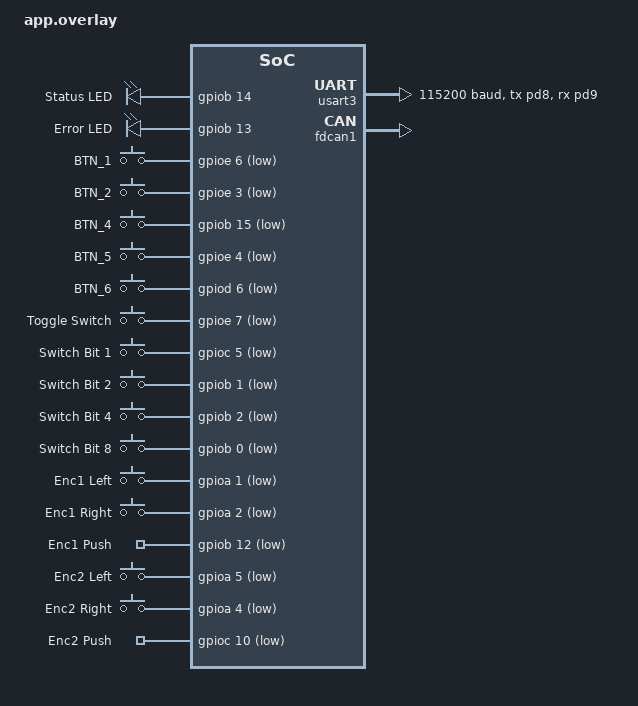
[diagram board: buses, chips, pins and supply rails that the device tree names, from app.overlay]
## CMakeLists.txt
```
# SPDX-License-Identifier: Apache-2.0
cmake_minimum_required(VERSION 3.20.0)

# generates compile_commands.json for clangd to LSP correctly. 
set(CMAKE_EXPORT_COMPILE_COMMANDS ON)

set_source_files_properties(src/*.cpp PROPERTIES LANGUAGE CXX)

set(BOARD_ROOT ${CMAKE_CURRENT_SOURCE_DIR})

find_package(Zephyr REQUIRED HINTS $ENV{ZEPHYR_BASE})

# Changed from vcu to wheel
project(wheel)

# Add include/ directory to include paths
target_include_directories(app PRIVATE
    ${CMAKE_CURRENT_SOURCE_DIR}/include
    ${CMAKE_CURRENT_SOURCE_DIR}/decoder_generated
)

# Gather all C and C++ source files under src/
# WARNING: Ensure adc.cpp, APPS.cpp, and dti_decoders.cpp are DELETED from the folder!
file(GLOB_RECURSE APP_SOURCES
    ${CMAKE_CURRENT_SOURCE_DIR}/src/*.c
    ${CMAKE_CURRENT_SOURCE_DIR}/src/*.cpp
    ${CMAKE_CURRENT_SOURCE_DIR}/decoder_generated/*.c
)

# Add sources to app target
target_sources(app PRIVATE
    src/main.cpp
    src/hardware.cpp
    src/can.cpp
    src/system.cpp
    src/steering_task.cpp
    src/gpio.cpp
)
```

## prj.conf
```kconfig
CONFIG_CAN=y
CONFIG_GPIO=y


CONFIG_LOG=y
CONFIG_LOG_MODE_IMMEDIATE=y
CONFIG_LOG_DEFAULT_LEVEL=3
CONFIG_LOG_BACKEND_FORMAT_TIMESTAMP=y
CONFIG_LOG_BACKEND_SHOW_COLOR=y
CONFIG_MAIN_STACK_SIZE=8192

CONFIG_CBPRINTF_FP_SUPPORT=y

CONFIG_CPP=y
CONFIG_CPP_EXCEPTIONS=y
CONFIG_GLIBCXX_LIBCPP=y
CONFIG_REQUIRES_FULL_LIBCPP=y
CONFIG_CAN_STATS=y

# custom compiler flag:
CONFIG_COMPILER_OPT="-ftrack-macro-expansion=0"
CONFIG_THREAD_MONITOR=y
CONFIG_THREAD_STACK_INFO=y
CONFIG_HEAP_MEM_POOL_SIZE=16384
CONFIG_SYSTEM_WORKQUEUE_STACK_SIZE=2048
CONFIG_SYS_HEAP_RUNTIME_STATS=y
CONFIG_PRINTK=y  

CONFIG_THREAD_RUNTIME_STATS=y
CONFIG_DEBUG_OPTIMIZATIONS=y

CONFIG_SCHED_THREAD_USAGE=y
CONFIG_CPU_LOAD=y
CONFIG_STATS=y

# threading
CONFIG_MULTITHREADING=y 
CONFIG_NUM_COOP_PRIORITIES=127
CONFIG_NUM_PREEMPT_PRIORITIES=127
CONFIG_SCHED_SCALABLE=y
```

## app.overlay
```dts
/*
 * Steering Wheel Controller Hardware Mapping
 * Target: STM32H753VIT6
 */

/ {
	aliases {
		led-status = &led_status;
		led-error = &led_error;
		
		/* Tactile Buttons */
		btn-1 = &btn_1;
		btn-2 = &btn_2;
		btn-4 = &btn_4;
		btn-5 = &btn_5;
		btn-6 = &btn_6;

		/* Toggle Switch */
		sw-toggle = &sw_toggle;

		/* 4-Bit Multiposition Switch */
		sw-bit1 = &sw_bit1;
		sw-bit2 = &sw_bit2;
		sw-bit4 = &sw_bit4;
		sw-bit8 = &sw_bit8;

		/* Rotary Encoder 1 */
		enc1-left = &enc1_left;
		enc1-right = &enc1_right;
		enc1-push = &enc1_push;

		/* Rotary Encoder 2 */
		enc2-left = &enc2_left;
		enc2-right = &enc2_right;
		enc2-push = &enc2_push;
	};

	leds {
		compatible = "gpio-leds";
		led_status: led_status {
			gpios = <&gpiob 14 GPIO_ACTIVE_HIGH>;
			label = "Status LED";
		};
		led_error: led_error {
			gpios = <&gpiob 13 GPIO_ACTIVE_HIGH>;
			label = "Error LED";
		};
	};

	gpio_keys {
		compatible = "gpio-keys";
		
		/* Tactile Buttons (Active Low) */
		btn_1: btn_1 { gpios = <&gpioe 6 (GPIO_PULL_UP | GPIO_ACTIVE_LOW)>; label = "BTN_1"; };
		btn_2: btn_2 { gpios = <&gpioe 3 (GPIO_PULL_UP | GPIO_ACTIVE_LOW)>; label = "BTN_2"; };
		btn_4: btn_4 { gpios = <&gpiob 15 (GPIO_PULL_UP | GPIO_ACTIVE_LOW)>; label = "BTN_4"; };
		btn_5: btn_5 { gpios = <&gpioe 4 (GPIO_PULL_UP | GPIO_ACTIVE_LOW)>; label = "BTN_5"; };
		btn_6: btn_6 { gpios = <&gpiod 6 (GPIO_PULL_UP | GPIO_ACTIVE_LOW)>; label = "BTN_6"; };

		/* Toggle Switch */
		sw_toggle: sw_toggle { gpios = <&gpioe 7 (GPIO_PULL_UP | GPIO_ACTIVE_LOW)>; label = "Toggle Switch"; };

		/* 4-Bit Multiposition Switch */
		sw_bit1: sw_bit1 { gpios = <&gpioc 5 (GPIO_PULL_UP | GPIO_ACTIVE_LOW)>; label = "Switch Bit 1"; };
		sw_bit2: sw_bit2 { gpios = <&gpiob 1 (GPIO_PULL_UP | GPIO_ACTIVE_LOW)>; label = "Switch Bit 2"; };
		sw_bit4: sw_bit4 { gpios = <&gpiob 2 (GPIO_PULL_UP | GPIO_ACTIVE_LOW)>; label = "Switch Bit 4"; };
		sw_bit8: sw_bit8 { gpios = <&gpiob 0 (GPIO_PULL_UP | GPIO_ACTIVE_LOW)>; label = "Switch Bit 8"; };

		/* Rotary Encoder 1 (E33-VT6C2-M03T) */
		enc1_left: enc1_left   { gpios = <&gpioa 1 (GPIO_PULL_UP | GPIO_ACTIVE_LOW)>; label = "Enc1 Left"; };
		enc1_right: enc1_right { gpios = <&gpioa 2 (GPIO_PULL_UP | GPIO_ACTIVE_LOW)>; label = "Enc1 Right"; };
		enc1_push: enc1_push   { gpios = <&gpiob 12 (GPIO_PULL_UP | GPIO_ACTIVE_LOW)>; label = "Enc1 Push"; };

		/* Rotary Encoder 2 (E33-VT6C2-M03T) */
		enc2_left: enc2_left   { gpios = <&gpioa 5 (GPIO_PULL_UP | GPIO_ACTIVE_LOW)>; label = "Enc2 Left"; };
		enc2_right: enc2_right { gpios = <&gpioa 4 (GPIO_PULL_UP | GPIO_ACTIVE_LOW)>; label = "Enc2 Right"; };
		enc2_push: enc2_push   { gpios = <&gpioc 10 (GPIO_PULL_UP | GPIO_ACTIVE_LOW)>; label = "Enc2 Push"; };
	};
};

/* Debug Console Configuration */
&usart3 {
	pinctrl-0 = <&usart3_tx_pd8 &usart3_rx_pd9>;
	pinctrl-names = "default";
	current-speed = <115200>;
	status = "okay";
};

/* Ensure FDCAN1 is enabled */
&fdcan1 {
	status = "okay";
};
```

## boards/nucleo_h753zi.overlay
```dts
/*
 * Copyright (c) 2024
 *
 * SPDX-License-Identifier: Apache-2.0
 */

&fdcan2 {
	pinctrl-0 = <&fdcan2_rx_pb5 &fdcan2_tx_pb6>;
	pinctrl-names = "default";
	status = "okay";
};

&pinctrl {
	fdcan2_rx_pb5: fdcan2_rx_pb5 {
		pinmux = <STM32_PINMUX('B', 5, AF9)>;
	};

	fdcan2_tx_pb6: fdcan2_tx_pb6 {
		pinmux = <STM32_PINMUX('B', 6, AF9)>;
	};
};
```

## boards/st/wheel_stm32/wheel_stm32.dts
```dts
/*
 * Copyright (c) 2026 Wheel Team
 * SPDX-License-Identifier: Apache-2.0
 */

/dts-v1/;
#include <st/h7/stm32h753Xi.dtsi>
#include <st/h7/stm32h753vitx-pinctrl.dtsi>
#include <zephyr/dt-bindings/gpio/gpio-keys.h>
#include <zephyr/dt-bindings/input/input-event-codes.h>

/ {
    model = "Wheel STM32H753VIT6 Custom Board";
    compatible = "st,stm32h753vi";

    chosen {
        zephyr,console = &usart3;
        zephyr,shell-uart = &usart3;
        zephyr,sram = &sram0;
        zephyr,flash = &flash0;
        zephyr,dtcm = &dtcm;
        zephyr,canbus = &fdcan1;
    };

    leds {
        compatible = "gpio-leds";
        mcu_err_led: led_0 {
            gpios = <&gpiob 13 GPIO_ACTIVE_HIGH>;
            label = "MCU ERR LED";
        };
        mcu_stat_led: led_1 {
            gpios = <&gpiob 14 GPIO_ACTIVE_HIGH>;
            label = "MCU STAT LED";
        };
    };

    gpio_keys {
        compatible = "gpio-keys";
        
        /* 5 Pushbuttons & Toggle */
        btn_1: btn_1 {
            label = "Button 1";
            gpios = <&gpioe 6 (GPIO_ACTIVE_LOW | GPIO_PULL_UP)>;
        };
        btn_2: btn_2 {
            label = "Button 2";
            gpios = <&gpioe 3 (GPIO_ACTIVE_LOW | GPIO_PULL_UP)>;
        };
        btn_4: btn_4 {
            label = "Button 4";
            gpios = <&gpiob 15 (GPIO_ACTIVE_LOW | GPIO_PULL_UP)>;
        };
        btn_5: btn_5 {
            label = "Button 5";
            gpios = <&gpioe 4 (GPIO_ACTIVE_LOW | GPIO_PULL_UP)>;
        };
        btn_6: btn_6 {
            label = "Button 6";
            gpios = <&gpiod 6 (GPIO_ACTIVE_LOW | GPIO_PULL_UP)>;
        };
        toggle_up: toggle_up {
            label = "Toggle Switch Up";
            gpios = <&gpioe 7 (GPIO_ACTIVE_LOW | GPIO_PULL_UP)>;
        };

        /* Rotary Encoder Pushbuttons */
        bottom_rotary_btn: bottom_rotary_btn {
            /* U8 - mounted on the bottom */
            label = "Bottom Rotary Button";
            gpios = <&gpiob 12 (GPIO_ACTIVE_LOW | GPIO_PULL_UP)>;
        };
        top_rotary_btn: top_rotary_btn {
            /* U9 - mounted on the top */
            label = "Top Rotary Button";
            gpios = <&gpioc 10 (GPIO_ACTIVE_LOW | GPIO_PULL_UP)>;
        };

        /* Multiposition Switch Bits for BCD */
        bit1: bit1 {
            label = "Multi Switch Bit 1";
            gpios = <&gpioc 5 (GPIO_ACTIVE_LOW | GPIO_PULL_UP)>;
        };
        bit2: bit2 {
            label = "Multi Switch Bit 2";
            gpios = <&gpiob 1 (GPIO_ACTIVE_LOW | GPIO_PULL_UP)>;
        };
        bit4: bit4 {
            label = "Multi Switch Bit 4";
            gpios = <&gpiob 2 (GPIO_ACTIVE_LOW | GPIO_PULL_UP)>;
        };
        bit8: bit8 {
            label = "Multi Switch Bit 8";
            gpios = <&gpiob 0 (GPIO_ACTIVE_LOW | GPIO_PULL_UP)>;
        };

        /* Rotary Encoder A/B Channels (Mapped as simple GPIOs for now) */
        bottom_enc_a: bottom_enc_a {
            /* U8 - Bottom Rotary Channel A (LeftChannel net) */
            label = "Bottom Encoder A";
            gpios = <&gpioa 1 (GPIO_ACTIVE_LOW | GPIO_PULL_UP)>;
        };
        bottom_enc_b: bottom_enc_b {
            /* U8 - Bottom Rotary Channel B (RightChannel net) */
            label = "Bottom Encoder B";
            gpios = <&gpioa 2 (GPIO_ACTIVE_LOW | GPIO_PULL_UP)>;
        };
        top_enc_a: top_enc_a {
            /* U9 - Top Rotary Channel A (LeftChannel_2 net) */
            label = "Top Encoder A";
            gpios = <&gpioa 5 (GPIO_ACTIVE_LOW | GPIO_PULL_UP)>;
        };
        top_enc_b: top_enc_b {
            /* U9 - Top Rotary Channel B (RightChannel_2 net) */
            label = "Top Encoder B";
            gpios = <&gpioa 4 (GPIO_ACTIVE_LOW | GPIO_PULL_UP)>;
        };
    };

    aliases {
        led0 = &mcu_err_led;
        led1 = &mcu_stat_led;
        sw0 = &btn_1;
    };
};

&clk_hsi {
    status = "okay";
};

&pll {
    div-m = <16>;     
    mul-n = <240>;    
    div-p = <2>;      
    div-q = <2>;      
    div-r = <2>;      
    clocks = <&clk_hsi>;  
    status = "okay";
};

&pll2 {
    div-m = <32>;     
    mul-n = <120>;    
    div-p = <2>;      
    div-q = <3>;      
    div-r = <2>;      
    clocks = <&clk_hsi>;  
    status = "okay";
};

&rcc {
    clocks = <&pll>;
    clock-frequency = <DT_FREQ_M(480)>;
    d1cpre = <1>;
    hpre = <2>;
    d1ppre = <2>;
    d2ppre1 = <2>;
    d2ppre2 = <2>;
    d3ppre = <2>;
};

/* Enable GPIO */
&gpioa { status = "okay"; };
&gpiob { status = "okay"; };
&gpioc { status = "okay"; };
&gpiod { status = "okay"; };
&gpioe { status = "okay"; };

&usart3 {
    pinctrl-0 = <&usart3_tx_pd8 &usart3_rx_pd9>;
    pinctrl-names = "default";
    current-speed = <115200>;
    status = "okay";
};

/* Updated to map the TCAN1042 transceiver */
&fdcan1 {
    clocks = <&rcc STM32_CLOCK_BUS_APB1_2 0x00000100>,
             <&rcc STM32_SRC_PLL2_Q FDCAN_SEL(2)>;
    pinctrl-0 = <&fdcan1_rx_pd0 &fdcan1_tx_pd1>;
    pinctrl-names = "default";
    status = "okay";
};

&flash0 {
    partitions {
        compatible = "fixed-partitions";
        #address-cells = <1>;
        #size-cells = <1>;

        boot_partition: partition@0 {
            label = "mcuboot";
            reg = <0x00000000 DT_SIZE_K(128)>;
        };
        slot0_partition: partition@20000 {
            label = "image-0";
            reg = <0x00020000 DT_SIZE_K(448)>;
        };
        slot1_partition: partition@90000 {
            label = "image-1";
            reg = <0x00090000 DT_SIZE_K(448)>;
        };
        storage_partition: partition@100000 {
            label = "storage";
            reg = <0x00100000 DT_SIZE_K(1024)>;
        };
    };
};
```

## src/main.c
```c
/*
 * Copyright (c) 2016 Intel Corporation
 *
 * SPDX-License-Identifier: Apache-2.0
 */

#include "CanInitializer.h"
#include <stdio.h>
#include <sys/_intsup.h>
#include <zephyr/drivers/gpio.h>
#include <zephyr/kernel.h>

/* 1000 msec = 1 sec */
#define SLEEP_TIME_MS 1000

#define DEBUGGING 0

// Placeholder values while we do not have real numbers (most likely same as 24 car)
const int ocThreshold = 1; // Open Circuit threshold
const int scThreshold = 2;  // Short Circuit threshold

// Pin Configuration NOT REAL VALUES
const int brake_switch_pin = 14;
const int brake_out_pin = 2;
const int error_out_pin = 9;
const int rtds_horn_pin = 21;
const int custom_pedal_pin = A14;


// Class for the pedals contains how to read pedal positions and check Open Circuit and Short Circuit faults
struct pedalSensor {
    const int inputPin;
    const int zeroPos;
    const int fullPos;
    const int onLedPin;
    const int ocLedPin;
    const int scLedPin;
}


float pedalPercentage(pedalSensor pedal) const {
    float percent = ((float) pedal.analogRead(pedal.inputPin) - pedal.zeroPos) / (pedal.fullPos - pedal.zeroPos);
            if (percent < 0.0f) {
                percent = 0.0f;
            } else if (percent > 1.0f) {
                percent = 1.0f;
            }
            return percent;
}

// Checks for a Short Circuit by reading the value of the sensor and comparing it to the threshold defined above
bool checkOpenCircuit(pedalSensor pedal) const {
    bool isOpenCircuit = pedal.analogRead(pedal.inputPin) < pedal.ocThreshold;
    digitalWrite(pedal.ocLedPin, isOpenCircuit);
    #ifdef DEBUGGING
    printf("Pedal %d: Open Circuit %s\n", pedal.inputPin, isOpenCircuit ? "detected" : "not detected");
    #endif
    return isOpenCircuit;
}

// Checks for a Short Circuit by reading the value of the sensor and comparing it to the threshold defined above
bool checkShortCircuit(PedalSensor pedal) const {
    bool isShortCircuit = analogRead(pdeal.inputPin) > pedal.scThreshold;
    digitalWrite(pedal.scLedPin, isShortCircuit);
    #ifdef DEBUGGING
    printf("Pedal %d: Short Circuit %s\n", pedal.inputPin, isShortCircuit ? "detected" : "not detected");
    #endif
    return isShortCircuit;
}

// Checks both faults for a pedal
bool checkRangeFaults(pedalSensor pedal) const {
      return checkOpenCircuit(pedal) || checkShortCircuit(pedal);
    }

// Pedal sensor1 WRITE DOWN RIGHT OR LEFT WHEN WE FIGURE IT OUT also update values
const pedalSensor p1 = {
    0,
    0,
    0,
    0,
    0,
    0
};

// Pedal sensor2 WRITE DOWN RIGHT OR LEFT WHEN WE FIGURE IT OUT also update values
const pedalSensor p2 = {
    0,
    0,
    0,
    0,
    0,
    0
};

const pedalSensor[] pedals = [p1, p2];

//******
// This would be where pedal map was defined with old apps
//  */

// If sensors disagree by more than 10% for >100ms, fault.
// DOUBLE CHECK RULES and if millis will work of if that needs a library
bool pedalAgreementFault() {
    static uint32_t faultTime = 0;
    if (abs(pedalPercentage(p1) - pedalPercentage(p2)) > 0.1) { // maybe increase if p2 is being really screwy
    if (faultTime == 0) { 
        faultTime = millis() + 100; // time when apps should start faulting
    } else if (faultTime <= millis()) {
        return true;
    }
    } else {
    faultTime = 0;
  }
  return false;
}



/* The devicetree node identifier for the "led0" alias. */

/*
 * A build error on this line means your board is unsupported.
 * See the sample documentation for information on how to fix this.
 */

int main(void) {}
```

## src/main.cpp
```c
#include <zephyr/kernel.h>
#include <zephyr/logging/log.h>

#include "hardware.h"
#include "system.h"
#include "steering_state.h"

LOG_MODULE_REGISTER(main);

int main(void)
{
    LOG_INF("***STEERING WHEEL ENTERED MAIN***");

    // Static instances to ensure they live for the duration of the program
    static WheelState wheel;
    static Hardware   hardware(&wheel);
    static System      system;

    LOG_INF("=== Wheel Node Starting ===");

    // Initialize RTOS resources (Heap, etc.)
    if (system.init() != 0)
    {
        LOG_ERR("System init failed!");
        return -1;
    }

    // Initialize FDCAN1 and all 16 Digital Inputs
    if (hardware.init() != 0)
    {
        LOG_ERR("Hardware init failed!");
        return -2;
    }

    /*Start the Steering Input Task here.
     * This will replace the old 'apps_task' and will poll the buttons,
     * encoders, and BCD switch.*/
    start_steering_input_task(&wheel, &hardware);

    // Start the system diagnostics task (Uptime, CPU Load, CAN stats)
    start_diagnostics_task(&system, &hardware, &wheel);

    LOG_INF("=== Wheel Node Ready ===");

    // Main thread enters a forever sleep as periodic tasks handle the work
    while (1)
    {
        k_sleep(K_FOREVER);
    }
}
```

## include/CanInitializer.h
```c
#pragma once

#include <zephyr/device.h>
#include <zephyr/devicetree.h>
#include <zephyr/drivers/can.h>
#include <zephyr/kernel.h>
#include <zephyr/logging\log.h>
#include <zephyr/types.h>

/* can_init ENCAPSULATES ALL CAN INITIALIZATION AND STARTUP CONFIGURATION
 * BEHAVIOR */
uint8_t can_init();
```

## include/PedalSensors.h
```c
// #pragma once

// #include <zephyr/device.h>
// #include <zephyr/devicetree.h>
// #include <zephyr/drivers/can.h>
// #include <zephyr/kernel.h>
// #include <zephyr/logging\log.h>
// #include <zephyr/types.h>

// struct PedalSensor {
//   const int inputPin;
//   const int zeroPos;
//   const int fullPos;
//   const int onLedPin;
//   const int ocLedPin;
//   const int scLedPin;

//   float pedalPercentage();
//   bool checkOpenCircuit();
//   bool checkShortCircuit();
//   bool checkRangeFaults();
// };

// bool pedalAgreementFault(PedalSensor p1, PedalSensor p2);
// bool brakeFault(PedalSensor p1, PedalSensor p2);
// bool checkAllFaults(PedalSensor p1, PedalSensor p2);
```

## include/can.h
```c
#pragma once
#include <zephyr/drivers/can.h>
#include <zephyr/kernel.h>

// Swapped to the new wheel-specific state tracker
#include "steering_state.h"

using frame_handler_t = void (*)(const struct can_frame *frame, volatile WheelState *wheel);

class CanBus
{
  private:
    const struct device *dev_;
    uint32_t bitrate_;
    uint32_t sample_point_;
    bool initialized_;
    bool started_;
    
    WheelState *wheel_; // Points to wheelstate
    
    uint32_t frames_rec;
    uint32_t frames_sent;

    static void can1_rx_isr(const struct device *dev, struct can_frame *frame, void *self_ptr);
    
    void dispatch(const struct can_frame *frame);
    int register_handlers();

    frame_handler_t bus_handlers[2048]{nullptr};

  public:
    CanBus(WheelState *wheel);

    int init(const struct device *dev, uint32_t bitrate = 1000000, uint32_t sample_point = 875);
    int start();
    int stop();

    int send(const struct can_frame *frame, k_timeout_t timeout, can_tx_callback_t callback = nullptr,
             void *user_data = nullptr);

    int add_rx_filter_msgq(struct k_msgq *msgq, const struct can_filter *filter);
    void remove_rx_filter(int filter_id);

    int get_state(enum can_state *state) const;
    int set_mode(can_mode_t mode);
    can_mode_t get_mode() const;

    bool is_initialized() const
    {
        return initialized_;
    }
    bool is_started() const
    {
        return started_;
    }

    const struct device *get_device() const
    {
        return dev_;
    }
};
```

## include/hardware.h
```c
// hardware.h
#pragma once

#include "can.h"
#include "gpio.h"
#include "steering_state.h"
#include <zephyr/device.h>
#include <zephyr/devicetree.h>

class Hardware
{
  public:
    Hardware(WheelState *state);

    // 5 Pushbuttons
    GpioPin btn_1;
    GpioPin btn_2;
    GpioPin btn_4;
    GpioPin btn_5;
    GpioPin btn_6;

    // Toggle Switch
    GpioPin toggle_up;

    // Rotary Encoder Pushbuttons
    GpioPin bottom_rotary_btn;
    GpioPin top_rotary_btn;

    // Rotary Encoder A/B Channels (Digital Inputs)
    GpioPin bottom_enc_a;
    GpioPin bottom_enc_b;
    GpioPin top_enc_a;
    GpioPin top_enc_b;

    // Multiposition Switch Bits (4-bit BCD)
    GpioPin multi_bit1;
    GpioPin multi_bit2;
    GpioPin multi_bit4;
    GpioPin multi_bit8;

    // Status LEDs
    GpioPin mcu_err_led;
    GpioPin mcu_stat_led;

    // Single CAN Bus (FDCAN1)
    CanBus can1;

    int init();

  private:
    WheelState *wheel; // Replaced 'vehicle' pointer

    // GPIO Port device pointers needed for Zephyr initialization
    const struct device *gpioa_ = nullptr;
    const struct device *gpiob_ = nullptr;
    const struct device *gpioc_ = nullptr;
    const struct device *gpiod_ = nullptr;
    const struct device *gpioe_ = nullptr;
    
    // CAN device pointer
    const struct device *can1_dev = nullptr;

    // Internal initialization routines
    int initializeGPIOs();
    int initializeCAN();
};
```

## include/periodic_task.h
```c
#pragma once

#include "steering_state.h"
#include <zephyr/kernel.h>

// CRTP base for all periodic Wheel tasks.
//
// Usage:
//   class MyTask : public PeriodicTask<MyTask> {
//       friend class PeriodicTask<MyTask>;
//   private:
//       void on_init()          { /* one-time setup */ }          // optional
//       void run()              { /* periodic work  */ }          // required
//       void on_deadline_miss() { set_period(get_period() * 2); } // optional
//   };
//
//   K_THREAD_STACK_DEFINE(my_stack, 1024);
//   static MyTask my_task;
//
//   // In main() after hardware init:
//   my_task.start(my_stack, K_THREAD_STACK_SIZEOF(my_stack),
//                 /*period_ms=*/1, /*priority=*/-5, &wheel);
//
// Timing: each thread sleeps to an absolute wake target incremented by period_ms
// every iteration — k_sleep(K_TIMEOUT_ABS_MS(next_wake)). Execution time of run()
// is absorbed into the sleep interval rather than accumulating as drift.
//
// Deadline detection: if k_uptime_get() > next_wake before sleeping, the previous
// run() overran. on_deadline_miss() is called and k_sleep returns immediately
// (target already in the past). next_wake is still advanced normally, so the thread
// self-corrects after a single overrun without backlog accumulation.
//
// Runtime rate adjustment: set_period(ms) takes effect on the next loop iteration.
// Calling it from on_deadline_miss() is the standard self-degradation pattern.

template <typename Derived> class PeriodicTask
{
  public:
    // Start the task thread.
    //   stack / stack_size : from K_THREAD_STACK_DEFINE — cannot be a class member.
    //   period_ms          : initial period in milliseconds.
    //   priority           : Zephyr thread priority.
    //                        Negative = cooperative (non-preemptible by other threads).
    //                        Positive = preemptible.
    //   wheel              : shared wheel state, accessible via wheel() in derived.
    //   flags              : k_thread_create flags, e.g. K_FP_REGS for FP-using tasks.
    void start(k_thread_stack_t *stack, size_t stack_size, uint32_t period_ms, int priority, WheelState *wheel,
               uint32_t flags = 0);

    // Change the task period at runtime. Takes effect on the next loop iteration.
    void set_period(uint32_t ms)
    {
        period_ms_ = ms;
    }

    uint32_t get_period() const
    {
        return period_ms_;
    }
    uint32_t get_misses() const
    {
        return deadline_misses_;
    }
    uint32_t get_total_runs() const
    {
        return total_runs_;
    }
    bool is_running() const
    {
        return running_;
    }

  protected:
    WheelState *wheel()
    {
        return wheel_;
    }

    // Default no-op hooks. Derived classes shadow these to override.
    void on_init()
    {
    }
    void on_deadline_miss()
    {
    }

  private:
    struct k_thread thread_;
    volatile uint32_t period_ms_ = 0;
    WheelState *wheel_ = nullptr;
    volatile bool running_ = false;
    uint32_t deadline_misses_ = 0;
    uint32_t total_runs_ = 0;

    static void entry(void *self, void *, void *);
};

// --- Template implementation (must live in header) ---

template <typename Derived>
void PeriodicTask<Derived>::start(k_thread_stack_t *stack, size_t stack_size, uint32_t period_ms, int priority,
                                  WheelState *wheel, uint32_t flags)
{
    period_ms_ = period_ms;
    wheel_ = wheel;
    running_ = true;
    k_thread_create(&thread_, stack, stack_size, entry, this, nullptr, nullptr, priority, flags, K_NO_WAIT);
}

template <typename Derived> void PeriodicTask<Derived>::entry(void *self, void *, void *)
{
    auto *task = static_cast<Derived *>(self);

    task->on_init();

    int64_t next_wake = k_uptime_get();

    while (task->running_)
    {
        next_wake += static_cast<int64_t>(task->period_ms_);

        // Detect overrun: previous run() took longer than period_ms.
        if (k_uptime_get() > next_wake)
        {
            task->deadline_misses_++;
            task->on_deadline_miss();
            // k_sleep below returns immediately when target is in the past.
        }

        k_sleep(K_TIMEOUT_ABS_MS(next_wake));
        task->run();
        task->total_runs_++;
    }
}
```

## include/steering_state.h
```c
#pragma once

#include <cstdint>
#include <stdbool.h>

// Struct to hold all physical hardware inputs on the wheel
struct SteeringInputs 
{
    // 5 Pushbuttons
    bool btn_1;
    bool btn_2;
    bool btn_4;
    bool btn_5;
    bool btn_6;

    // Toggle Switch
    bool toggle_up;

    // Rotary Encoder Pushbuttons
    bool bottom_rotary_btn;
    bool top_rotary_btn;

    // Rotary Encoder Positions (Counted values)
    int32_t bottom_encoder_count;
    int32_t top_encoder_count;

    // Multiposition Switch (The 4-bit BCD value 0-9)
    uint8_t multi_position;
};

// Main state object shared between tasks
struct WheelState 
{
    SteeringInputs current_inputs;
    
    // System Metadata
    uint32_t last_update_time;
    bool can_bus_active;
};
```

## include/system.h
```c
#pragma once

#include "hardware.h"
#include "periodic_task.h"
#include "steering_state.h" // Ensures the new state object is defined
#include <zephyr/debug/cpu_load.h>
#include <zephyr/kernel.h>
#include <zephyr/sys/mem_stats.h>
#include <zephyr/sys/sys_heap.h>

// System manages the shared heap and exposes system-level stats.
// Threading has moved to DiagnosticsTask below.
class System
{
public:
    int init();

    void    *heap_alloc(size_t size, k_timeout_t timeout);
    void     heap_free(void *ptr);
    int      get_heap_stats(struct sys_memory_stats *stats);
    uint64_t get_uptime_ms() const;
    uint8_t  get_cpu_load() const;
    bool     is_initialized() const { return initialized_; }

private:
    struct k_heap heap_;
    bool          initialized_ = false;
};

// Periodic diagnostics: logs uptime, heap, CPU load, and CAN bus states.
class DiagnosticsTask : public PeriodicTask<DiagnosticsTask>
{
    friend class PeriodicTask<DiagnosticsTask>;

public:
    void set_system(System *sys)    { system_   = sys; }
    void set_hardware(Hardware *hw) { hardware_ = hw;  }

private:
    System   *system_   = nullptr;
    Hardware *hardware_ = nullptr;

    void run();
};

// Start the diagnostics task. Stack and instance are owned inside system.cpp.
void start_diagnostics_task(System *sys, Hardware *hw, WheelState *w,
                             uint32_t period_ms = 1000, int priority = 10);

DiagnosticsTask &get_diagnostics_task();

void start_steering_input_task(WheelState *w, Hardware *hw);
```

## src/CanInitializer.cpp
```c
#include <zephyr/device.h>
#include <zephyr/devicetree.h>
#include <zephyr/drivers/can.h>
#include <zephyr/kernel.h>
#include <zephyr/logging/log.h>
#include <zephyr/types.h>

LOG_MODULE_REGISTER(canInitializer, LOG_LEVEL_INF);

namespace {
    constexpr int CAN1_BAUD = 1000000;         
    constexpr int CAN1_SAMPLE_POINT = 875;       
    constexpr uint16_t CAN1_STATUS_MSG_ID = 0x090; 
}

static void can_rx_callback(const struct device *dev, struct can_frame *frame, void *user_data) {
    LOG_INF("Received CAN frame ID=0x%x DLC=%d", frame->id, frame->dlc);
}

static void can_status_callback(const struct device *dev, int error, void *user_data) {
    if (error) {
        LOG_ERR("CAN Status MSG Transmit failed: %d", error);
    } else {
        LOG_INF("CAN Status MSG Transmit succeeded");
    }
}
uint8_t can_init() {
    const struct device *can1 = DEVICE_DT_GET(DT_NODELABEL(fdcan1));

    if (!device_is_ready(can1)) {
        LOG_ERR("CAN1 controller not ready");
        return static_cast<uint8_t>(-1);
    }

    LOG_INF("CAN1 device ready — calculating timing...");
    struct can_timing timing {};
    int ret = can_calc_timing(can1, &timing, CAN1_BAUD, CAN1_SAMPLE_POINT);
    if (ret != 0) {
        LOG_ERR("can_calc_timing() failed with code %d", ret);
        return static_cast<uint8_t>(ret);
    }

    struct can_bus_err_cnt can1err; 
    enum can_state state;
    can_get_state(can1, &state,&can1err);
    if (state != CAN_STATE_STOPPED) {
        can_stop(can1);
        if (ret != 0) {
        LOG_ERR("can_stop() failed with code %d", ret);
        return static_cast<uint8_t>(ret);
    }
    }

    LOG_INF("Applying timing configuration...");
    ret = can_set_timing(can1, &timing);
    if (ret != 0) {
        LOG_ERR("can_set_timing() failed with code %d", ret);
        return static_cast<uint8_t>(ret);
    }

    LOG_INF("Starting CAN1...");
    ret = can_start(can1);
    if (ret != 0) {
        LOG_ERR("can_start() failed with code %d", ret);
        return static_cast<uint8_t>(ret);
    }

    LOG_INF("Configuring default RX filter...");
    const struct can_filter filter = {
        .id = 0x000,
        .mask = 0x000,
        .flags = 0
    };

    int filter_id = can_add_rx_filter(can1, can_rx_callback, nullptr, &filter);
    if (filter_id < 0) {
        LOG_ERR("Failed to add RX filter: %d", filter_id);
    } else {
        LOG_INF("RX filter installed successfully (id=%d)", filter_id);
    }

    struct can_frame msg_can1_status{
        .id = CAN1_STATUS_MSG_ID, 
        .dlc = can_bytes_to_dlc(8), 
        .flags = 0, 
        .data = {0,1,2,3,4,5,6,7}
    }; 
    
    can_send(can1,&msg_can1_status,K_MSEC(10),can_status_callback,nullptr); 

    LOG_INF("CAN1 initialization complete.");
    return 0;


}
```

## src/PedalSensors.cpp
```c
// #include <cmath>
// #include <cstdint>
// #include <zephyr/drivers/gpio.h>
// #include <zephyr/kernel.h> // for k_uptime_get()

// #include <zephyr/device.h>
// #include <zephyr/devicetree.h>
// #include <zephyr/drivers/can.h>
// #include <zephyr/kernel.h>
// #include <zephyr/logging\log.h>
// #include <zephyr/types.h>

// #include "PedalSensors.h"
// #include <stdio.h>

// float PedalSensor::pedalPercentage() const {
//   float percent = ((float)analogRead(inputPin) - zeroPos) / (fullPos - zeroPos);
//   if (percent < 0.0f) {
//     percent = 0.0f;
//   } else if (percent > 1.0f) {
//     percent = 1.0f;
//   }
//   return percent;
// }

// // Checks for a Short Circuit by reading the value of the sensor and comparing
// // it to the threshold defined above
// bool PedalSensor::checkOpenCircuit() const {
//   bool isOpenCircuit = analogRead(inputPin) < ocThreshold;
//   digitalWrite(ocLedPin, isOpenCircuit);
// #ifdef DEBUGGING
//   printf("Pedal %d: Open Circuit %s\n", inputPin,
//          isOpenCircuit ? "detected" : "not detected");
// #endif
//   return isOpenCircuit;
// }

// // Checks for a Short Circuit by reading the value of the sensor and comparing
// // it to the threshold defined above
// bool PedalSensor::checkShortCircuit() const {
//   bool isShortCircuit = analogRead(inputPin) > scThreshold;
//   digitalWrite(scLedPin, isShortCircuit);
// #ifdef DEBUGGING
//   printf("Pedal %d: Short Circuit %s\n", inputPin,
//          isShortCircuit ? "detected" : "not detected");
// #endif
//   return isShortCircuit;
// }

// // Checks both faults for a pedal
// bool PedalSensor::checkRangeFaults() const {
//   return checkOpenCircuit() || checkShortCircuit();
// }

// // if sensors disagree b y more than 10% for >100ms, fault.
// bool pedalAgreementFault(PedalSensor p1, PedalSensor p2) {
//   static uint32_t faultTime = 0;
//   if (abs(p1.pedalPercentage() - p2.pedalPercentage()) >
//       0.1) { // maybe increase if p2 is being really screwy
//     if (faultTime == 0) {
//       faultTime = k_uptime_get() + 100; // time when apps should start faulting
//     } else if (faultTime <= k_uptime_get()) {
//       return true;
//     }
//   } else {
//     faultTime = 0;
//   }
//   return false;
// }

// bool brakeFault(PedalSensor p1, PedalSensor p2) {
//   static bool brakeFault = false;
//   float avgPedal = p1.pedalPercentage() + p2.pedalPercentage() / 2;
//   // float avgPedal = p2.pedalPercentage();
//   if (avgPedal > .25 && digitalRead(brake_switch_pin)) {
//     brakeFault = true;
//   }
//   if (brakeFault && avgPedal < .05) {
//     brakeFault = false;
//   }
//   return brakeFault;
// }

// bool checkAllFaults(PedalSensor p1, PedalSensor p2) {
//   bool fault = false;
//   if (p1.checkRangeFaults() || p2.checkRangeFaults()) {
//     fault = true;
//   }
//   if (pedalAgreementFault(p1, p2)) {
//     fault = true;
// #ifdef DEBUGGING
//     Serial.println("FAULT: Pedal Agreement");
// #endif
//   }
//   if (brakeFault(p1, p2)) {
//     fault = true;
// #ifdef DEBUGGING
//     Serial.println("FAULT: Brake fault");
// #endif
//   }
//   return fault;
// }
```

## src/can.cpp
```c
#include "can.h"
#include <zephyr/logging/log.h>
#include "steering_state.h" // Swapped from vehicle_state.h
#include "zephyr/drivers/can.h"

LOG_MODULE_REGISTER(can);

// ============================================================================
// Construction
// ============================================================================

CanBus::CanBus(WheelState *wheel)
    : dev_(nullptr), bitrate_(0), sample_point_(0), initialized_(false), started_(false), wheel_(wheel),
      frames_rec(0), frames_sent(0)
{
}

// ============================================================================
// ISR dispatch
// ============================================================================

void CanBus::dispatch(const struct can_frame *frame)
{
    uint16_t id = frame->id & CAN_STD_ID_MASK;

    if (id < 2048 && bus_handlers[id])
    {
        bus_handlers[id](frame, wheel_);
    }

    frames_rec++;
}

void CanBus::can1_rx_isr(const struct device *dev, struct can_frame *frame, void *self_ptr)
{
    CanBus *bus = static_cast<CanBus *>(self_ptr);
    bus->dispatch(frame);
}

// ============================================================================
// Handler registration — called internally at end of init()
// ============================================================================

int CanBus::register_handlers()
{
    if (dev_ == DEVICE_DT_GET(DT_NODELABEL(fdcan1)))
    {
        // Future: Register specific handlers here if the wheel needs to read incoming 
        // CAN messages (e.g. from the VCU to light up a 'Ready to Drive' LED).
        // Example: bus_handlers[0x123] = decode_vcu_state;
        
        LOG_INF("Wheel CAN1 handler registration complete — no active RX handlers yet.");
    }
    else
    {
        LOG_ERR("Unknown CAN device during handler registration");
        return -1;
    }

    return 0;
}

// ============================================================================
// Init
// ============================================================================

int CanBus::init(const struct device *dev, uint32_t bitrate, uint32_t sample_point)
{
    if (!dev)
    {
        LOG_ERR("CAN device is NULL");
        return -1;
    }

    if (!device_is_ready(dev))
    {
        LOG_ERR("CAN device not ready");
        return -2;
    }

    dev_ = dev;
    bitrate_ = bitrate;
    sample_point_ = sample_point;

    LOG_INF("CAN device ready - calculating timing...");

    // Calculate timing parameters
    struct can_timing timing;
    int ret = can_calc_timing(dev_, &timing, bitrate_, sample_point_);
    if (ret != 0)
    {
        LOG_ERR("can_calc_timing() failed: %d", ret);
        return ret;
    }

    // Stop CAN if already running
    enum can_state state;
    can_get_state(dev_, &state, nullptr);
    if (state != CAN_STATE_STOPPED)
    {
        LOG_INF("Stopping CAN to configure timing");
        ret = can_stop(dev_);
        if (ret != 0)
        {
            LOG_ERR("can_stop() failed: %d", ret);
            return ret;
        }
        started_ = false;
    }

    // Apply timing configuration
    LOG_INF("Applying timing configuration...");
    ret = can_set_timing(dev_, &timing);
    if (ret != 0)
    {
        LOG_ERR("can_set_timing() failed: %d", ret);
        return ret;
    }

    // Assign the single ISR callback for FDCAN1
    can_rx_callback_t callback;
    if (dev_ == DEVICE_DT_GET(DT_NODELABEL(fdcan1)))
    {
        callback = can1_rx_isr;
    }
    else
    {
        LOG_ERR("Unknown CAN device during callback assignment");
        return -3;
    }

    constexpr struct can_filter accept_all_filter = {
        .id = 0x000,
        .mask = ~CAN_STD_ID_MASK,
        .flags = 0U,
    };

    int filter_id = can_add_rx_filter(dev_, callback, this, &accept_all_filter);
    LOG_INF("Callback attached with code %d", filter_id);

    ret = register_handlers();
    if (ret != 0)
    {
        LOG_ERR("register_handlers() failed: %d", ret);
        return ret;
    }

    initialized_ = true;
    LOG_INF("CAN initialized (%d bps, sample point %d)", bitrate_, sample_point_);
    return 0;
}

// ============================================================================
// Start / Stop / Send
// ============================================================================

int CanBus::start()
{
    if (!initialized_)
    {
        LOG_ERR("CAN not initialized");
        return -1;
    }

    if (started_)
    {
        LOG_WRN("CAN already started");
        return 0;
    }

    LOG_INF("Starting CAN...");
    int ret = can_start(dev_);
    if (ret != 0)
    {
        LOG_ERR("can_start() failed: %d", ret);
        return ret;
    }

    started_ = true;
    LOG_INF("CAN started successfully");
    return 0;
}

int CanBus::stop()
{
    if (!initialized_)
    {
        return -1;
    }

    if (!started_)
    {
        return 0;
    }

    int ret = can_stop(dev_);
    if (ret == 0)
    {
        started_ = false;
        LOG_INF("CAN stopped");
    }
    return ret;
}

int CanBus::send(const struct can_frame *frame, k_timeout_t timeout, can_tx_callback_t callback, void *user_data)
{
    if (!initialized_ || !started_)
    {
        return -1;
    }

    return can_send(dev_, frame, timeout, callback, user_data);
}

// ============================================================================
// Filter / State / Mode
// ============================================================================

int CanBus::add_rx_filter_msgq(struct k_msgq *msgq, const struct can_filter *filter)
{
    if (!initialized_)
    {
        return -1;
    }

    return can_add_rx_filter_msgq(dev_, msgq, filter);
}

void CanBus::remove_rx_filter(int filter_id)
{
    if (!initialized_)
    {
        return;
    }

    can_remove_rx_filter(dev_, filter_id);
}

int CanBus::get_state(enum can_state *state) const
{
    if (!initialized_ || !state)
    {
        return -1;
    }

    return can_get_state(dev_, state, nullptr);
}

int CanBus::set_mode(can_mode_t mode)
{
    if (!initialized_)
    {
        return -1;
    }

    bool was_started = started_;
    if (started_)
    {
        int ret = stop();
        if (ret != 0)
        {
            LOG_ERR("Failed to stop CAN before mode change");
            return ret;
        }
    }

    int ret = can_set_mode(dev_, mode);
    if (ret != 0)
    {
        LOG_ERR("can_set_mode failed: %d", ret);
        return ret;
    }

    if (was_started)
    {
        ret = start();
        if (ret != 0)
        {
            LOG_ERR("Failed to restart CAN after mode change");
            return ret;
        }
    }

    LOG_INF("CAN mode set to 0x%x", mode);
    return 0;
}

can_mode_t CanBus::get_mode() const
{
    if (!initialized_)
    {
        return (can_mode_t)0;
    }

    return can_get_mode(dev_);
}
```

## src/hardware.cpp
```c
// hardware.cpp
#include "hardware.h"
#include "steering_state.h"
#include "zephyr/drivers/can.h"
#include <cstdint>
#include <zephyr/device.h>
#include <zephyr/logging/log.h>

LOG_MODULE_REGISTER(hardware);

int Hardware::init()
{
    LOG_INF("Initializing Wheel hardware...");

    
    if (initializeGPIOs() != 0)
    {
        LOG_ERR("Failed to initialize Wheel GPIOs");
        return -1;
    }

    if (initializeCAN() != 0) 
    {
        LOG_ERR("Failed to initialize CAN");
        return -2;
    }

    LOG_INF("Wheel Hardware initialized successfully");
    return 0;
}

Hardware::Hardware(WheelState *state) : can1(state), wheel(state)
{
}

int Hardware::initializeGPIOs()
{
    // Get GPIO ports from Devicetree
    gpioa_ = DEVICE_DT_GET(DT_NODELABEL(gpioa));
    gpiob_ = DEVICE_DT_GET(DT_NODELABEL(gpiob));
    gpioc_ = DEVICE_DT_GET(DT_NODELABEL(gpioc));
    gpiod_ = DEVICE_DT_GET(DT_NODELABEL(gpiod));
    gpioe_ = DEVICE_DT_GET(DT_NODELABEL(gpioe));

    if (!gpioa_ || !gpiob_ || !gpioc_ || !gpiod_ || !gpioe_)
    {
        LOG_ERR("Failed to get one or more GPIO ports");
        return -1;
    }

    // --- 5 Pushbuttons ---
    btn_1.init(gpioe_, 6, GPIO_INPUT | GPIO_PULL_UP);
    btn_2.init(gpioe_, 3, GPIO_INPUT | GPIO_PULL_UP);
    btn_4.init(gpiob_, 15, GPIO_INPUT | GPIO_PULL_UP);
    btn_5.init(gpioe_, 4, GPIO_INPUT | GPIO_PULL_UP);
    btn_6.init(gpiod_, 6, GPIO_INPUT | GPIO_PULL_UP);

    // --- Toggle Switch (Flick Up) ---
    toggle_up.init(gpioe_, 7, GPIO_INPUT | GPIO_PULL_UP);

    // --- Rotary Encoder Pushbuttons ---
    bottom_rotary_btn.init(gpiob_, 12, GPIO_INPUT | GPIO_PULL_UP);
    top_rotary_btn.init(gpioc_, 10, GPIO_INPUT | GPIO_PULL_UP);

    // --- Rotary Encoder Channels (Read as Digital Inputs) ---
    bottom_enc_a.init(gpioa_, 1, GPIO_INPUT | GPIO_PULL_UP);
    bottom_enc_b.init(gpioa_, 2, GPIO_INPUT | GPIO_PULL_UP);
    top_enc_a.init(gpioa_, 5, GPIO_INPUT | GPIO_PULL_UP);
    top_enc_b.init(gpioa_, 4, GPIO_INPUT | GPIO_PULL_UP);

    // --- Multiposition Switch (BCD Bits) ---
    multi_bit1.init(gpioc_, 5, GPIO_INPUT | GPIO_PULL_UP);
    multi_bit2.init(gpiob_, 1, GPIO_INPUT | GPIO_PULL_UP);
    multi_bit4.init(gpiob_, 2, GPIO_INPUT | GPIO_PULL_UP);
    multi_bit8.init(gpiob_, 0, GPIO_INPUT | GPIO_PULL_UP);

    // --- Status LEDs ---
    mcu_err_led.init(gpiob_, 13, GPIO_OUTPUT_INACTIVE);
    mcu_stat_led.init(gpiob_, 14, GPIO_OUTPUT_INACTIVE);

    LOG_INF("All Wheel GPIOs (16 inputs, 2 outputs) initialized");
    return 0;
}

int Hardware::initializeCAN()
{
    // Get FDCAN1 device
    can1_dev = DEVICE_DT_GET(DT_NODELABEL(fdcan1));

    if (!can1_dev)
    {
        LOG_ERR("Failed to get FDCAN1 device");
        return -1;
    }

    // Initialize CAN1 (1 Mbps)
    if (can1.init(can1_dev, 1000000, 875) != 0)
    {
        LOG_ERR("Failed to init CAN1");
        return -10;
    }

    if (can1.start() != 0)
    {
        LOG_ERR("Failed to start CAN1");
        return -11;
    }

    LOG_INF("FDCAN1 initialized and started at 1Mbps");
    return 0;
}
```
